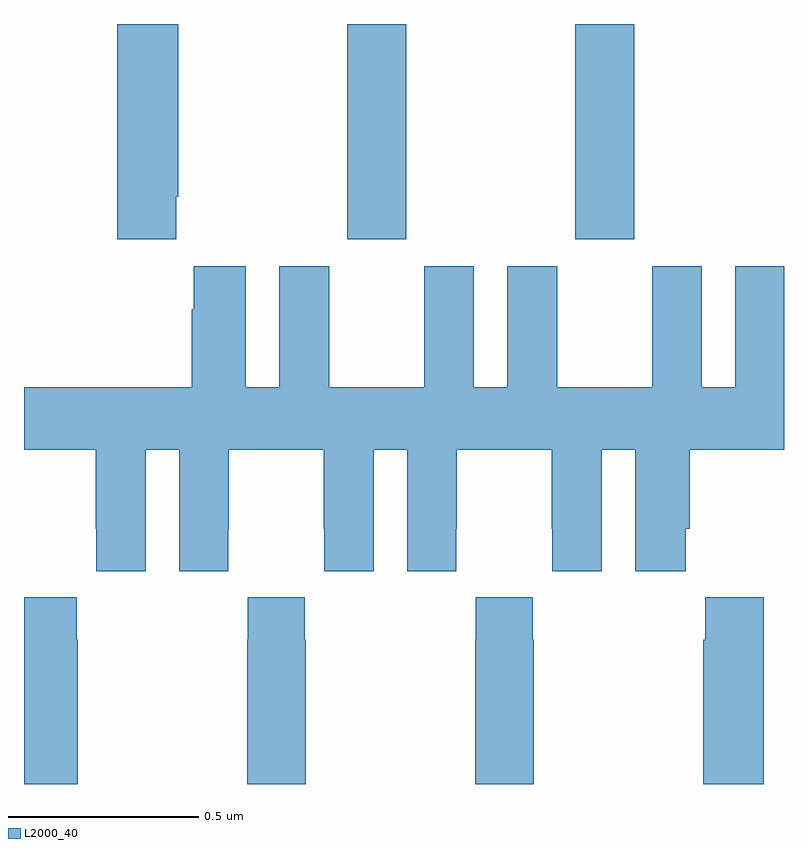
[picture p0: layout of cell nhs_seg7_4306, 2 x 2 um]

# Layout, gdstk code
import gdstk
lib = gdstk.Library(unit=1e-6, precision=1e-09)
def R(c, l, rs):  # rectangles x0, y0, x1, y1
    for r in rs: c.add(gdstk.rectangle(r[:2], r[2:], *l))
def P(c, l, *ps):  # polygons
    for p in ps: c.add(gdstk.Polygon(p, *l))
L2000_40 = (2000, 40)

nhs_seg7_4306 = lib.new_cell('nhs_seg7_4306')
R(nhs_seg7_4306, L2000_40, [(170.851,1070.433,171.006,1071), (171.451,1070.433,171.606,1071)])
P(nhs_seg7_4306, L2000_40, [(170.401,1070.545),(170.406,1070.545),(170.406,1071),(170.246,1071),(170.246,1070.433),(170.401,1070.433)],
  [(170.32,1069.88),(170.408,1069.88),(170.408,1069.56),(170.538,1069.56),(170.538,1069.672),(170.539,1069.672),(170.539,1069.88),(170.789,1069.88),(170.789,1069.672),(170.79,1069.672),(170.79,1069.56),(170.92,1069.56),(170.92,1069.88),(171.008,1069.88),(171.008,1069.56),(171.138,1069.56),(171.138,1069.672),(171.139,1069.672),(171.139,1069.88),(171.389,1069.88),(171.389,1069.672),(171.39,1069.672),(171.39,1069.56),(171.52,1069.56),(171.52,1069.88),(171.608,1069.88),(171.608,1069.56),(171.742,1069.56),(171.742,1069.672),(171.752,1069.672),(171.752,1069.88),(172,1069.88),(172,1070.362),(171.872,1070.362),(171.872,1070.044),(171.784,1070.044),(171.784,1070.362),(171.653,1070.362),(171.653,1070.044),(171.403,1070.044),(171.403,1070.362),(171.272,1070.362),(171.272,1070.044),(171.184,1070.044),(171.184,1070.362),(171.053,1070.362),(171.053,1070.044),(170.803,1070.044),(170.803,1070.362),(170.672,1070.362),(170.672,1070.044),(170.584,1070.044),(170.584,1070.362),(170.447,1070.362),(170.447,1070.249),(170.441,1070.249),(170.441,1070.044),(170,1070.044),(170,1069.88),(170.189,1069.88),(170.189,1069.672),(170.19,1069.672),(170.19,1069.56),(170.32,1069.56)],
  [(171.342,1069.379),(171.339,1069.379),(171.339,1069.492),(171.189,1069.492),(171.189,1069.379),(171.187,1069.379),(171.187,1069),(171.342,1069)],
  [(170.142,1069.379),(170.139,1069.379),(170.139,1069.492),(170,1069.492),(170,1069),(170.142,1069)],
  [(171.947,1069.492),(171.793,1069.492),(171.793,1069.379),(171.787,1069.379),(171.787,1069),(171.947,1069)],
  [(170.589,1069.492),(170.589,1069.379),(170.587,1069.379),(170.587,1069),(170.742,1069),(170.742,1069.379),(170.739,1069.379),(170.739,1069.492)])

lib.write_gds('nhs_seg7_4306.gds')
